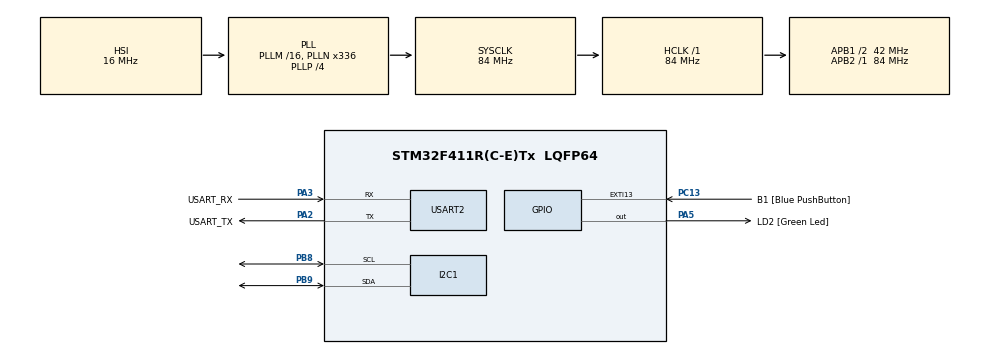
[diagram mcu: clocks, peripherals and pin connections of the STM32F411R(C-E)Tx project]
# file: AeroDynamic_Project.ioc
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Mcu.Family=STM32F4
Mcu.Name=STM32F411R(C-E)Tx
Mcu.Package=LQFP64
NVIC.PriorityGroup=NVIC_PRIORITYGROUP_0
PA13.GPIO_Label=TMS
PA13.Mode=Serial_Wire
PA13.Signal=SYS_JTMS-SWDIO
PA14.GPIO_Label=TCK
PA14.Mode=Serial_Wire
PA14.Signal=SYS_JTCK-SWCLK
PA2.GPIO_Label=USART_TX
PA2.Mode=Asynchronous
PA2.Signal=USART2_TX
PA3.GPIO_Label=USART_RX
PA3.Mode=Asynchronous
PA3.Signal=USART2_RX
PA5.GPIO_Label=LD2 [Green Led]
PA5.Signal=GPIO_Output
PB3.GPIO_Label=SWO
PB3.Signal=SYS_JTDO-SWO
PB8.Mode=I2C
PB8.Signal=I2C1_SCL
PB9.Mode=I2C
PB9.Signal=I2C1_SDA
PC13-ANTI_TAMP.GPIO_Label=B1 [Blue PushButton]
PC13-ANTI_TAMP.GPIO_ModeDefaultEXTI=GPIO_MODE_IT_FALLING
PC13-ANTI_TAMP.Signal=GPXTI13
PC14-OSC32_IN.Mode=LSE-External-Oscillator
PC14-OSC32_IN.Signal=RCC_OSC32_IN
PC15-OSC32_OUT.Mode=LSE-External-Oscillator
PC15-OSC32_OUT.Signal=RCC_OSC32_OUT
PH0\ -\ OSC_IN.Mode=HSE-External-Clock-Source
PH0\ -\ OSC_IN.Signal=RCC_OSC_IN
PH1\ -\ OSC_OUT.Mode=HSE-External-Clock-Source
PH1\ -\ OSC_OUT.Signal=RCC_OSC_OUT
ProjectManager.HeapSize=0x200
ProjectManager.StackSize=0x400
ProjectManager.TargetToolchain=STM32CubeIDE
RCC.48MHZClocksFreq_Value=84000000
RCC.AHBFreq_Value=84000000
RCC.APB1CLKDivider=RCC_HCLK_DIV2
RCC.APB1Freq_Value=42000000
RCC.APB1TimFreq_Value=84000000
RCC.APB2Freq_Value=84000000
RCC.APB2TimFreq_Value=84000000
RCC.CortexFreq_Value=84000000
RCC.FLatency-AdvancedSettings=FLASH_LATENCY_2
RCC.HCLKFreq_Value=84000000
RCC.HSE_VALUE=8000000
RCC.HSI_VALUE=16000000
RCC.PLLN=336
RCC.PLLP=RCC_PLLP_DIV4
RCC.SYSCLKFreq_VALUE=84000000
RCC.SYSCLKSource=RCC_SYSCLKSOURCE_PLLCLK
RCC.VCOOutputFreq_Value=336000000
USART2.VirtualMode=VM_ASYNC
board=NUCLEO-F411RE

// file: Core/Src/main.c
/* USER CODE BEGIN Header */
/**
  ******************************************************************************
  * @file           : main.c
  * @brief          : Main program body
  ******************************************************************************
  * @attention
  *
  * Copyright (c) 2025 STMicroelectronics.
  * All rights reserved.
  *
  * This software is licensed under terms that can be found in the LICENSE file
  * in the root directory of this software component.
  * If no LICENSE file comes with this software, it is provided AS-IS.
  *
  ******************************************************************************
  */
/* USER CODE END Header */
#include "main.h"
#include "stdio.h"
#include "mpu.h"
#include "string.h"

/* USER CODE BEGIN PD */
#define DATA_INPUT_USER 256
#define AXIS_NUMBER 6
/* USER CODE END PD */

I2C_HandleTypeDef hi2c1;

UART_HandleTypeDef huart2;

/* USER CODE BEGIN PV */
float mpu_buffer[AXIS_NUMBER * DATA_INPUT_USER] = {0};

// Gyroscope variables
float Gx, Gy, Gz;
float prev_Gx = 0, prev_Gy = 0, prev_Gz = 0;  // Previous gyroscope values
float gradient_Gx = 0, gradient_Gy = 0, gradient_Gz = 0;  // Gyroscope gradients

/* USER CODE END PV */

void SystemClock_Config(void);
static void MX_GPIO_Init(void);
static void MX_USART2_UART_Init(void);
static void MX_I2C1_Init(void);
/* USER CODE BEGIN PFP */
int _io_putchar(int);
void fill_mpu_buffer();
void Log();
void ComputeGyroGradients(); // Function to compute gyroscope gradients

/* USER CODE END PFP */

int main(void)
{

  /* MCU Configuration--------------------------------------------------------*/

  /* Reset of all peripherals, Initializes the Flash interface and the Systick. */
  HAL_Init();

  /* Configure the system clock */
  SystemClock_Config();

  /* Initialize all configured peripherals */
  MX_GPIO_Init();
  MX_USART2_UART_Init();
  MX_I2C1_Init();
  /* USER CODE BEGIN 2 */
  MPU6050_Init();
  HAL_Delay(1000);

  /* USER CODE END 2 */

  /* Infinite loop */
  while (1)
  {
    Log();
  }
}

void SystemClock_Config(void)
{
  RCC_OscInitTypeDef RCC_OscInitStruct = {0};
  RCC_ClkInitTypeDef RCC_ClkInitStruct = {0};

  /** Configure the main internal regulator output voltage
  */
  __HAL_RCC_PWR_CLK_ENABLE();
  __HAL_PWR_VOLTAGESCALING_CONFIG(PWR_REGULATOR_VOLTAGE_SCALE1);

  /** Initializes the RCC Oscillators according to the specified parameters
  * in the RCC_OscInitTypeDef structure.
  */
  RCC_OscInitStruct.OscillatorType = RCC_OSCILLATORTYPE_HSI;
  RCC_OscInitStruct.HSIState = RCC_HSI_ON;
  RCC_OscInitStruct.HSICalibrationValue = RCC_HSICALIBRATION_DEFAULT;
  RCC_OscInitStruct.PLL.PLLState = RCC_PLL_ON;
  RCC_OscInitStruct.PLL.PLLSource = RCC_PLLSOURCE_HSI;
  RCC_OscInitStruct.PLL.PLLM = 16;
  RCC_OscInitStruct.PLL.PLLN = 336;
  RCC_OscInitStruct.PLL.PLLP = RCC_PLLP_DIV4;
  RCC_OscInitStruct.PLL.PLLQ = 4;
  if (HAL_RCC_OscConfig(&RCC_OscInitStruct) != HAL_OK)
  {
    Error_Handler();

  }

  /** Initializes the CPU, AHB and APB buses clocks
  */
  RCC_ClkInitStruct.ClockType = RCC_CLOCKTYPE_HCLK|RCC_CLOCKTYPE_SYSCLK
                              |RCC_CLOCKTYPE_PCLK1|RCC_CLOCKTYPE_PCLK2;
  RCC_ClkInitStruct.SYSCLKSource = RCC_SYSCLKSOURCE_PLLCLK;
  RCC_ClkInitStruct.AHBCLKDivider = RCC_SYSCLK_DIV1;
  RCC_ClkInitStruct.APB1CLKDivider = RCC_HCLK_DIV2;
  RCC_ClkInitStruct.APB2CLKDivider = RCC_HCLK_DIV1;

  if (HAL_RCC_ClockConfig(&RCC_ClkInitStruct, FLASH_LATENCY_2) != HAL_OK)
  {
    Error_Handler();
  }
}

static void MX_I2C1_Init(void)
{

  hi2c1.Instance = I2C1;
  hi2c1.Init.ClockSpeed = 100000;
  hi2c1.Init.DutyCycle = I2C_DUTYCYCLE_2;
  hi2c1.Init.OwnAddress1 = 0;
  hi2c1.Init.AddressingMode = I2C_ADDRESSINGMODE_7BIT;
  hi2c1.Init.DualAddressMode = I2C_DUALADDRESS_DISABLE;
  hi2c1.Init.OwnAddress2 = 0;
  hi2c1.Init.GeneralCallMode = I2C_GENERALCALL_DISABLE;
  hi2c1.Init.NoStretchMode = I2C_NOSTRETCH_DISABLE;
  if (HAL_I2C_Init(&hi2c1) != HAL_OK)
  {
    Error_Handler();
  }

}

static void MX_USART2_UART_Init(void)
{

  huart2.Instance = USART2;
  huart2.Init.BaudRate = 115200;
  huart2.Init.WordLength = UART_WORDLENGTH_8B;
  huart2.Init.StopBits = UART_STOPBITS_1;
  huart2.Init.Parity = UART_PARITY_NONE;
  huart2.Init.Mode = UART_MODE_TX_RX;
  huart2.Init.HwFlowCtl = UART_HWCONTROL_NONE;
  huart2.Init.OverSampling = UART_OVERSAMPLING_16;
  if (HAL_UART_Init(&huart2) != HAL_OK)
  {
    Error_Handler();
  }

}

static void MX_GPIO_Init(void)
{
  GPIO_InitTypeDef GPIO_InitStruct = {0};

  /* GPIO Ports Clock Enable */
  __HAL_RCC_GPIOC_CLK_ENABLE();
  __HAL_RCC_GPIOH_CLK_ENABLE();
  __HAL_RCC_GPIOA_CLK_ENABLE();
  __HAL_RCC_GPIOB_CLK_ENABLE();

  /*Configure GPIO pin Output Level */
  HAL_GPIO_WritePin(LD2_GPIO_Port, LD2_Pin, GPIO_PIN_RESET);

  /*Configure GPIO pin : B1_Pin */
  GPIO_InitStruct.Pin = B1_Pin;
  GPIO_InitStruct.Mode = GPIO_MODE_IT_FALLING;
  GPIO_InitStruct.Pull = GPIO_NOPULL;
  HAL_GPIO_Init(B1_GPIO_Port, &GPIO_InitStruct);

  /*Configure GPIO pin : LD2_Pin */
  GPIO_InitStruct.Pin = LD2_Pin;
  GPIO_InitStruct.Mode = GPIO_MODE_OUTPUT_PP;
  GPIO_InitStruct.Pull = GPIO_NOPULL;
  GPIO_InitStruct.Speed = GPIO_SPEED_FREQ_LOW;
  HAL_GPIO_Init(LD2_GPIO_Port, &GPIO_InitStruct);

}

/* USER CODE BEGIN 4 */
int __io_putchar(int ch)
{
	HAL_UART_Transmit(&huart2,(uint8_t *)&ch,1,HAL_MAX_DELAY);
	return ch;
}

// Fill MPU buffer with accelerometer and gyroscope data
void fill_mpu_buffer()
{
    for (int i = 0; i < DATA_INPUT_USER; i++)
    {
        // Read accelerometer data
        MPU6050_Read_Accel(accel_data);
        mpu_buffer[AXIS_NUMBER * i] = Ax;
        mpu_buffer[AXIS_NUMBER * i + 1] = Ay;
        mpu_buffer[AXIS_NUMBER * i + 2] = Az;

        // Read gyroscope data
        MPU6050_Read_Gyro(gyro_data);
        mpu_buffer[AXIS_NUMBER * i + 3] = Gx;
        mpu_buffer[AXIS_NUMBER * i + 4] = Gy;
        mpu_buffer[AXIS_NUMBER * i + 5] = Gz;
    }
}

// Compute gyroscope gradients
void ComputeGyroGradients()
{
    uint32_t current_time = osKernelSysTick();  // Use RTOS tick (or HAL_GetTick() if not using RTOS)
    static uint32_t prev_time = 0;

    if (prev_time != 0) {
        float delta_time = (current_time - prev_time) / 1000.0f;  // Convert ticks to seconds

        if (delta_time > 0) {
            gradient_Gx = (Gx - prev_Gx) / delta_time;
            gradient_Gy = (Gy - prev_Gy) / delta_time;
            gradient_Gz = (Gz - prev_Gz) / delta_time;
        }
    }

    // Store current gyroscope values for the next iteration
    prev_Gx = Gx;
    prev_Gy = Gy;
    prev_Gz = Gz;
    prev_time = current_time;
}

// Log function to print accelerometer, gyroscope, and their gradients
void Log()
{
    fill_mpu_buffer();

    for (int i = 0; i < DATA_INPUT_USER; i++)
    {
        // Print accelerometer values
        printf("%.2f ", mpu_buffer[AXIS_NUMBER * i]);  // Ax
        printf("%.2f ", mpu_buffer[AXIS_NUMBER * i + 1]);  // Ay
        printf("%.2f ", mpu_buffer[AXIS_NUMBER * i + 2]);  // Az

        // Print gyroscope values
        printf("%.2f ", mpu_buffer[AXIS_NUMBER * i + 3]);  // Gx
        printf("%.2f ", mpu_buffer[AXIS_NUMBER * i + 4]);  // Gy
        printf("%.2f ", mpu_buffer[AXIS_NUMBER * i + 5]);  // Gz

        // Print gradients
   /*
        printf("Gyro Gradient (Gx): %.4f ", gradient_Gx);
        printf("Gyro Gradient (Gy): %.4f ", gradient_Gy);
        printf("Gyro Gradient (Gz): %.4f ", gradient_Gz);
*/
        printf("\r\n");
    }

    HAL_Delay(100);
}
/* USER CODE END 4 */

void Error_Handler(void)
{
  __disable_irq();
  while (1)
  {
  }
}
